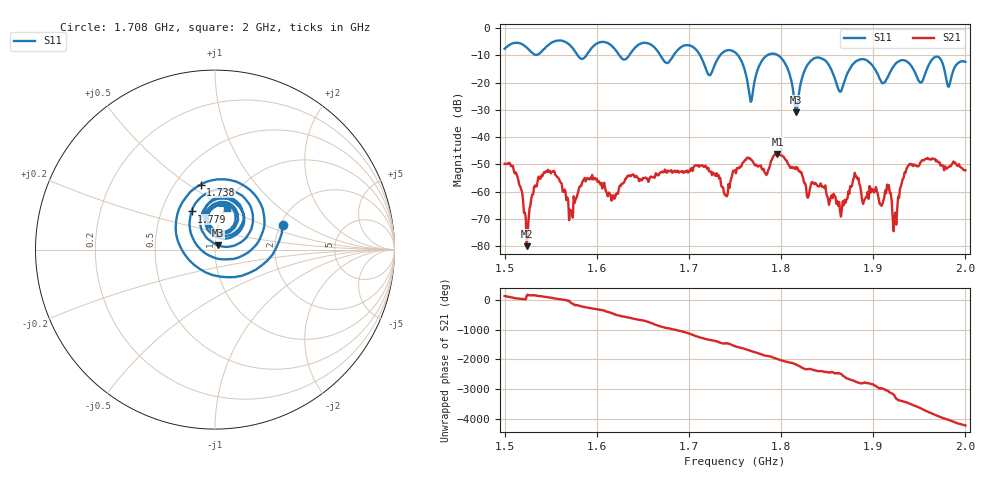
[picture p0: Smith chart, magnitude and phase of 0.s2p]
! NanoVNA-App by SYSJOINT et al v1.1.209 (+OD18)
! Date: 2026-01-21 14:27:08
! Start: 1,5GHz Stop: 2GHz Points: 501
! S-Parameter data: F S11 S21 S12 S22
# Hz S RI R 50
!  Frequency  S11_Real  S11_Imag  S21_Real  S21_Imag  S12_Real  S12_Imag  S22_Real  S22_Imag
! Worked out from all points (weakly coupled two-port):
!   501 points, 1.5 GHz to 2 GHz, reference 50 ohm
!   highest |S21| = -46.22 dB at 1.796 GHz (marker M1); lowest = -80.1 dB at 1.524 GHz (marker M2)
!   lowest |S11| = -30.9 dB at 1.816 GHz (marker M3), VSWR 1.06, Z = 51.7 + j2.39 ohm
!   |S11| at or under -10 dB: 1.712 GHz to 1.734 GHz (21.44 MHz wide, 1.24 % of centre); 1.753 GHz to 1.785 GHz (31.24 MHz wide, 1.77 % of centre); 1.797 GHz to end of sweep (the widest 3 of 6)
!   S12 and S22 are empty: the file has one direction only
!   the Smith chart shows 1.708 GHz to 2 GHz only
!   S11 on the Smith chart (normalised r, x): 1.708 GHz: 2.06, +0.66; 1.738 GHz: 0.66, +0.56; 1.779 GHz: 0.71, +0.32; 2 GHz: 1.02, +0.50
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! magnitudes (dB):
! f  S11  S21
! 1.5 GHz  -7.5  -49.8
! 1.514 GHz  -5.3  -54.7
! 1.524 GHz  -7.1  -80.1
! 1.545 GHz  -6.9  -52.5
! 1.572 GHz  -6.6  -67.0
! 1.584 GHz  -11.3  -56.9
! 1.667 GHz  -8.9  -54.0
! 1.708 GHz  -8.0  -50.4
! 1.722 GHz  -17.3  -52.6
! 1.738 GHz  -8.6  -60.4
! 1.75 GHz  -8.8  -52.2
! 1.767 GHz  -27.0  -48.3
! 1.779 GHz  -12.1  -51.7
! 1.796 GHz  -9.8  -46.2
! 1.816 GHz  -30.9  -51.8
! 1.834 GHz  -11.5  -56.5
! 1.864 GHz  -23.3  -67.2
! 1.88 GHz  -12.5  -53.1
! 1.917 GHz  -17.1  -57.6
! 1.923 GHz  -13.5  -69.5
! 1.939 GHz  -12.9  -50.0
! 2 GHz  -12.4  -52.2
